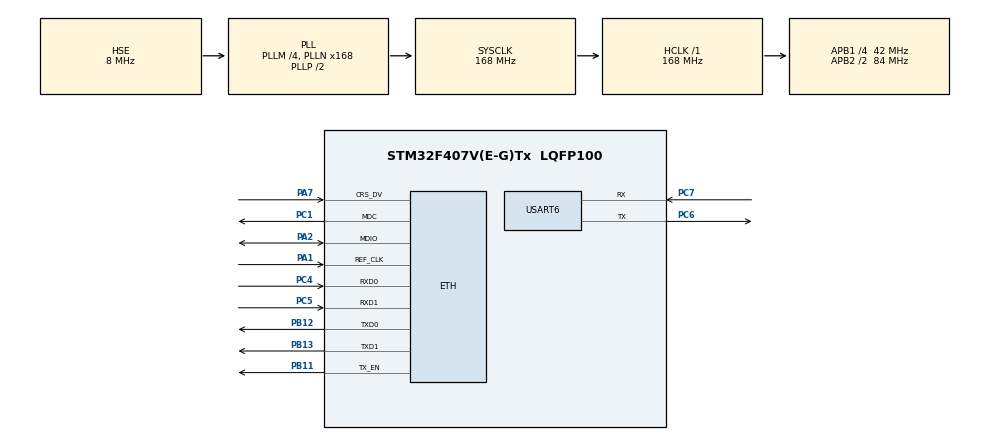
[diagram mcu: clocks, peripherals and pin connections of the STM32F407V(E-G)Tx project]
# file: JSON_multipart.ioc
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ETH.MediaInterface=ETH_MEDIA_INTERFACE_RMII
LWIP.GATEWAY_ADDRESS=192.168.018.001
LWIP.IP_ADDRESS=192.168.018.120
LWIP.LWIP_DHCP=0
LWIP.LWIP_HTTPD=1
LWIP.LWIP_HTTPD_CGI=1
LWIP.LWIP_HTTPD_DYNAMIC_HEADERS=1
LWIP.LWIP_HTTPD_MAX_CGI_PARAMETERS=16
LWIP.LWIP_HTTPD_MAX_TAG_INSERT_LEN=6000
LWIP.LWIP_HTTPD_MAX_TAG_NAME_LEN=16
LWIP.LWIP_HTTPD_SSI=1
LWIP.LWIP_HTTPD_SSI_INCLUDE_TAG=0
LWIP.LWIP_HTTPD_SSI_MULTIPART=1
LWIP.LWIP_HTTPD_SUPPORT_POST=1
LWIP.MEMP_NUM_TCP_PCB=5
LWIP.MEM_SIZE=1024*10
LWIP.NETMASK_ADDRESS=255.255.255.000
LWIP.PBUF_POOL_BUFSIZE=1600
LWIP.Version=v2.1.2_Cube
Mcu.Family=STM32F4
Mcu.Name=STM32F407V(E-G)Tx
Mcu.Package=LQFP100
NVIC.PriorityGroup=NVIC_PRIORITYGROUP_4
PA1.Mode=RMII
PA1.Signal=ETH_REF_CLK
PA13.Mode=Serial_Wire
PA13.Signal=SYS_JTMS-SWDIO
PA14.Mode=Serial_Wire
PA14.Signal=SYS_JTCK-SWCLK
PA2.Mode=RMII
PA2.Signal=ETH_MDIO
PA7.Mode=RMII
PA7.Signal=ETH_CRS_DV
PB11.Mode=RMII
PB11.Signal=ETH_TX_EN
PB12.Mode=RMII
PB12.Signal=ETH_TXD0
PB13.Mode=RMII
PB13.Signal=ETH_TXD1
PC1.Mode=RMII
PC1.Signal=ETH_MDC
PC4.Mode=RMII
PC4.Signal=ETH_RXD0
PC5.Mode=RMII
PC5.Signal=ETH_RXD1
PC6.Mode=Asynchronous
PC6.Signal=USART6_TX
PC7.Mode=Asynchronous
PC7.Signal=USART6_RX
PH0-OSC_IN.Mode=HSE-External-Oscillator
PH0-OSC_IN.Signal=RCC_OSC_IN
PH1-OSC_OUT.Mode=HSE-External-Oscillator
PH1-OSC_OUT.Signal=RCC_OSC_OUT
ProjectManager.HeapSize=0x200
ProjectManager.StackSize=0x400
ProjectManager.TargetToolchain=STM32CubeIDE
RCC.48MHZClocksFreq_Value=84000000
RCC.AHBFreq_Value=168000000
RCC.APB1CLKDivider=RCC_HCLK_DIV4
RCC.APB1Freq_Value=42000000
RCC.APB1TimFreq_Value=84000000
RCC.APB2CLKDivider=RCC_HCLK_DIV2
RCC.APB2Freq_Value=84000000
RCC.APB2TimFreq_Value=168000000
RCC.CortexFreq_Value=168000000
RCC.HCLKFreq_Value=168000000
RCC.HSE_VALUE=8000000
RCC.HSI_VALUE=16000000
RCC.LSE_VALUE=32768
RCC.PLLM=4
RCC.PLLN=168
RCC.PLLSourceVirtual=RCC_PLLSOURCE_HSE
RCC.SYSCLKFreq_VALUE=168000000
RCC.SYSCLKSource=RCC_SYSCLKSOURCE_PLLCLK
RCC.VCOOutputFreq_Value=336000000
USART6.VirtualMode=VM_ASYNC
VP_LWIP_VS_Enabled.Mode=Enabled
board=custom

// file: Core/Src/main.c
/* USER CODE BEGIN Header */
/**
  ******************************************************************************
  * @file           : main.c
  * @brief          : Main program body
  ******************************************************************************
  * @attention
  *
  * Copyright (c) 2022 STMicroelectronics.
  * All rights reserved.
  *
  * This software is licensed under terms that can be found in the LICENSE file
  * in the root directory of this software component.
  * If no LICENSE file comes with this software, it is provided AS-IS.
  *
  ******************************************************************************
  */
/* USER CODE END Header */
#include "main.h"
#include "lwip.h"

/* USER CODE BEGIN Includes */
#include "http_ssi.h"
#include <stdio.h>/* для printf */
#include "lwip/apps/httpd.h" // including httpd.h [- HTTPd #1 -]
/* USER CODE END Includes */

UART_HandleTypeDef huart6;

void SystemClock_Config(void);
static void MX_GPIO_Init(void);
static void MX_USART6_UART_Init(void);
/* USER CODE BEGIN PFP */
void SystemClock_Config(void);
static void MX_GPIO_Init(void);
static void MX_USART6_UART_Init(void);
/* USER CODE BEGIN PFP */
int _write(int file, char *ptr, int len) {
	int i;
	HAL_UART_Transmit(&huart6, (uint8_t*) ptr, len, 50);
	for (i = 0; i < len; i++) {
		ITM_SendChar(*ptr++);
	}
	return len;
}
/* USER CODE END PFP */

/* USER CODE BEGIN 0 */
struct netif gnetif;
/* USER CODE END 0 */

int main(void)
{

  /* MCU Configuration--------------------------------------------------------*/

  /* Reset of all peripherals, Initializes the Flash interface and the Systick. */
  HAL_Init();

  /* Configure the system clock */
  SystemClock_Config();

  /* Initialize all configured peripherals */
  MX_GPIO_Init();
  MX_USART6_UART_Init();
  MX_LWIP_Init();
  /* USER CODE BEGIN 2 */
  http_server_init();
  //printf("File main.c BEGIN 2 \n");
  /* USER CODE END 2 */

  /* Infinite loop */
  /* USER CODE BEGIN WHILE */
  //printf("wile\n");
  while (1)
  {
    /* USER CODE END WHILE */

    /* USER CODE BEGIN 3 */
      ethernetif_input(&gnetif);
      sys_check_timeouts();
  }
  /* USER CODE END 3 */
}

void SystemClock_Config(void)
{
  RCC_OscInitTypeDef RCC_OscInitStruct = {0};
  RCC_ClkInitTypeDef RCC_ClkInitStruct = {0};

  /** Configure the main internal regulator output voltage
  */
  __HAL_RCC_PWR_CLK_ENABLE();
  __HAL_PWR_VOLTAGESCALING_CONFIG(PWR_REGULATOR_VOLTAGE_SCALE1);
  /** Initializes the RCC Oscillators according to the specified parameters
  * in the RCC_OscInitTypeDef structure.
  */
  RCC_OscInitStruct.OscillatorType = RCC_OSCILLATORTYPE_HSE;
  RCC_OscInitStruct.HSEState = RCC_HSE_ON;
  RCC_OscInitStruct.PLL.PLLState = RCC_PLL_ON;
  RCC_OscInitStruct.PLL.PLLSource = RCC_PLLSOURCE_HSE;
  RCC_OscInitStruct.PLL.PLLM = 4;
  RCC_OscInitStruct.PLL.PLLN = 168;
  RCC_OscInitStruct.PLL.PLLP = RCC_PLLP_DIV2;
  RCC_OscInitStruct.PLL.PLLQ = 4;
  if (HAL_RCC_OscConfig(&RCC_OscInitStruct) != HAL_OK)
  {
    Error_Handler();
  }
  /** Initializes the CPU, AHB and APB buses clocks
  */
  RCC_ClkInitStruct.ClockType = RCC_CLOCKTYPE_HCLK|RCC_CLOCKTYPE_SYSCLK
                              |RCC_CLOCKTYPE_PCLK1|RCC_CLOCKTYPE_PCLK2;
  RCC_ClkInitStruct.SYSCLKSource = RCC_SYSCLKSOURCE_PLLCLK;
  RCC_ClkInitStruct.AHBCLKDivider = RCC_SYSCLK_DIV1;
  RCC_ClkInitStruct.APB1CLKDivider = RCC_HCLK_DIV4;
  RCC_ClkInitStruct.APB2CLKDivider = RCC_HCLK_DIV2;

  if (HAL_RCC_ClockConfig(&RCC_ClkInitStruct, FLASH_LATENCY_5) != HAL_OK)
  {
    Error_Handler();
  }
}

static void MX_USART6_UART_Init(void)
{

  huart6.Instance = USART6;
  huart6.Init.BaudRate = 115200;
  huart6.Init.WordLength = UART_WORDLENGTH_8B;
  huart6.Init.StopBits = UART_STOPBITS_1;
  huart6.Init.Parity = UART_PARITY_NONE;
  huart6.Init.Mode = UART_MODE_TX_RX;
  huart6.Init.HwFlowCtl = UART_HWCONTROL_NONE;
  huart6.Init.OverSampling = UART_OVERSAMPLING_16;
  if (HAL_UART_Init(&huart6) != HAL_OK)
  {
    Error_Handler();
  }

}

static void MX_GPIO_Init(void)
{

  /* GPIO Ports Clock Enable */
  __HAL_RCC_GPIOH_CLK_ENABLE();
  __HAL_RCC_GPIOC_CLK_ENABLE();
  __HAL_RCC_GPIOA_CLK_ENABLE();
  __HAL_RCC_GPIOB_CLK_ENABLE();

}

void Error_Handler(void)
{
  __disable_irq();
  while (1)
  {
  }
}
